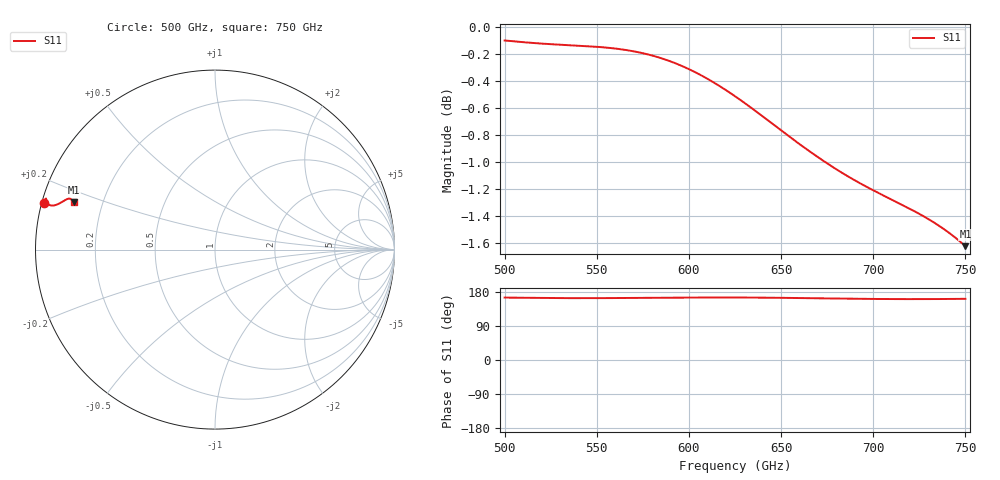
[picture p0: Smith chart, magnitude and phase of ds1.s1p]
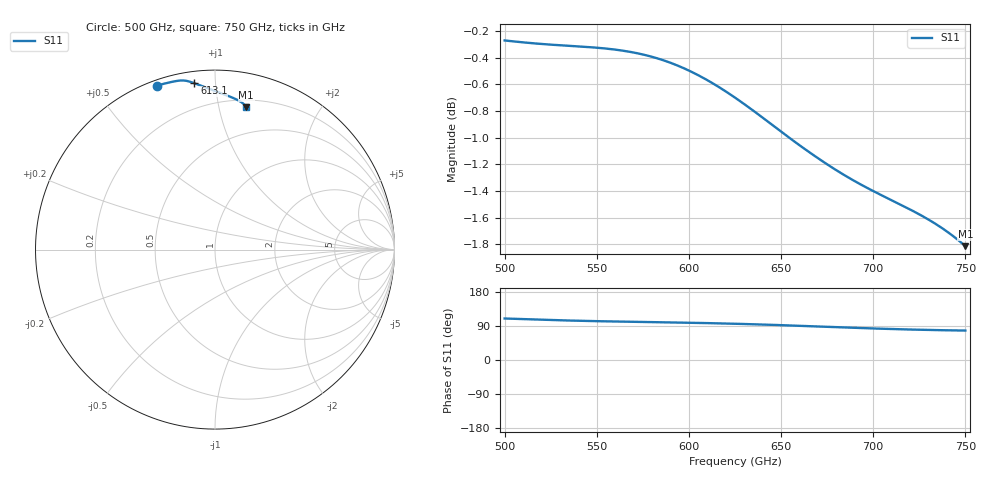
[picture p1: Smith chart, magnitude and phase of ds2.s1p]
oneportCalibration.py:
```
import mwavepy as mv
from pylab import * 

'''
a simple example of how to make and  over-determined one-port
calibration, apply calibration to a measurement, and then save results
'''

# setup measured and ideal lists (ORDER MATTERS)
measured = [\
	mv.Network('measured/ds1.s1p'),
	mv.Network('measured/ds2.s1p'),
	mv.Network('measured/ds3.s1p'),
	mv.Network('measured/ds4.s1p'),
	mv.Network('measured/ds5.s1p'),
	]
	
ideals = [\
	mv.Network('ideals/ds1.s1p'),
	mv.Network('ideals/ds2.s1p'),
	mv.Network('ideals/ds3.s1p'),
	mv.Network('ideals/ds4.s1p'),
	mv.Network('ideals/ds5.s1p'),
	]

# initialize Calibration 
cal = mv.Calibration(measured = measured, ideals = ideals)

# run calibration algorithm
cal.run()



#save error network 
cal.error_ntwk.write_touchstone('error_network.s2p')

# apply calibration to a measurement 
ds1_caled = cal.apply_cal(mv.Network('measured/ds1.s1p'))

#save calibrated data to file
ds1_caled.write_touchstone('caled/ds1.s1p')


# plot calibration error parameters
figure(1)
cal.plot_coefs_db()

#plots calibrated data contents
figure(2)
ds1_caled.plot_s_smith()

draw();show()
```
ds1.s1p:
# GHz S RI R 50.0
!freq	ReS11	ImS11
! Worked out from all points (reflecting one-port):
!   401 points, 500 GHz to 750 GHz, reference 50 ohm
!   lowest |S11| = -1.6 dB at 750 GHz (marker M1), VSWR 10.74, Z = 4.78 + j8.09 ohm
!   phase of S11 starts at 165 deg and turns -3 deg over the sweep
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500  -0.9532 0.2613
523.75  -0.9448 0.2797
540  -0.9419 0.2847
558.125  -0.941 0.2806
583.75  -0.9375 0.2644
605  -0.9274 0.2512
626.25  -0.9088 0.2453
645  -0.8869 0.2487
666.875  -0.8591 0.2614
693.75  -0.8289 0.279
712.5  -0.8133 0.2843
721.875  -0.8068 0.2832
731.25  -0.8006 0.2795
750  -0.7866 0.2638
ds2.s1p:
# GHz S RI R 50.0
!freq	ReS11	ImS11
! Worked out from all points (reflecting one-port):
!   401 points, 500 GHz to 750 GHz, reference 50 ohm
!   lowest |S11| = -1.8 dB at 750 GHz (marker M1), VSWR 9.61, Z = 13 + j60.4 ohm
!   phase of S11 starts at 110 deg and turns -32 deg over the sweep
!   S11 on the Smith chart (normalised r, x): 500 GHz: 0.02, +0.71; 613.1 GHz: 0.06, +0.88; 750 GHz: 0.26, +1.21
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500  -0.3238 0.9135
523.75  -0.2613 0.9298
539.375  -0.227 0.9372
556.25  -0.1982 0.9416
583.75  -0.1604 0.9403
599.375  -0.1377 0.9346
613.125  -0.1144 0.9268
625  -0.0909 0.918
637.5  -0.0625 0.9073
666.875  0.0152 0.8784
691.875  0.0816 0.853
711.25  0.1241 0.8343
730.625  0.1548 0.8153
750  0.1733 0.7928
